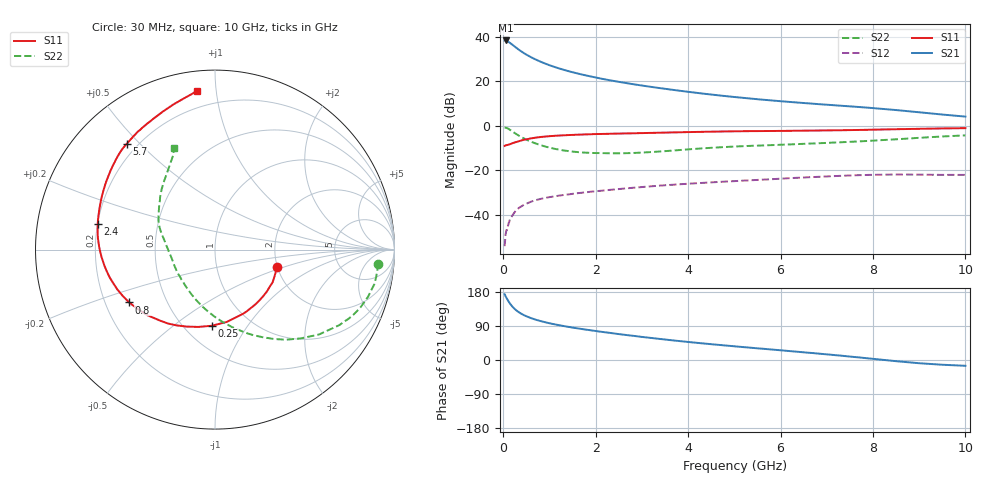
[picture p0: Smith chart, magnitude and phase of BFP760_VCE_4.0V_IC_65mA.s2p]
! Infineon Technologies  Discrete & RF Semiconductors
! BFP760
! VCE =  4.0 V,  IC =  65 mA
! Common Emitter S-Parameters:  Nov 2012
# GHz  S  MA  R  50
!  f  S11  S21  S12  S22
! GHz  MAG  ANG  MAG  ANG  MAG  ANG  MAG  ANG
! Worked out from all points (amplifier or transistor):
!   99 points, 30 MHz to 10 GHz, reference 50 ohm
!   highest |S21| = 38.3 dB at 50 MHz (marker M1)
!   |S21| within 3 dB of that: start of sweep to 265.7 MHz
!   unconditionally stable (mu >= 1): 3.403 GHz to end of sweep
!   at 350 MHz: K = 0.45, MSG = 35.3 dB, |S12| = -36.7 dB
!   at 3.5 GHz: K = 1.01, MAG = 21.1 dB, |S12| = -26.7 dB
!   at 10 GHz: K = 1.03, MAG = 12.0 dB, |S12| = -22.0 dB
!   S11 on the Smith chart (normalised r, x): 30 MHz: 1.98, -0.43; 250 MHz: 0.67, -0.70; 800 MHz: 0.30, -0.26; 2.4 GHz: 0.20, +0.11; 5.7 GHz: 0.16, +0.46; 10 GHz: 0.10, +0.89
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0.03  0.356 -15.4  82.41 173.6  0.002 78.4  0.9088 -4.9
0.04  0.3608 -20.3  82.23 171.5  0.0026 70.1  0.9121 -7.5
0.05  0.3645 -25.2  82.61 168.5  0.0036 63.8  0.9106 -10.0
0.07  0.3687 -34.9  81.45 163.9  0.0046 65.2  0.8982 -14.9
0.1  0.3753 -47.7  78.25 157.6  0.0057 70.0  0.8728 -21.5
0.15  0.3902 -66.2  72.34 148.3  0.0082 65.1  0.8111 -31.2
0.2  0.4084 -80.9  66.01 140.7  0.0098 62.3  0.7481 -39.2
0.25  0.4248 -92.5  60.22 134.5  0.0117 60.8  0.6887 -45.9
0.3  0.4405 -102.1  54.87 129.3  0.0134 58.3  0.639 -51.8
0.35  0.4569 -110.1  50.17 125.1  0.0147 55.8  0.594 -56.9
0.45  0.4877 -122.3  42.78 118.2  0.017 52.6  0.5224 -65.9
0.6  0.5246 -135.8  34.84 110.6  0.0199 49.5  0.4431 -77.4
0.8  0.5618 -148.4  27.78 103.0  0.0229 45.8  0.3725 -90.6
1.1  0.5973 -161.8  21.18 94.4  0.0261 43.4  0.3076 -107.7
1.7  0.6397 -179.0  14.24 81.8  0.0316 41.7  0.2533 -134.2
2.4  0.6691 167.5  10.15 70.0  0.0374 41.4  0.2432 -157.5
3.4  0.7036 152.0  7.019 55.4  0.0458 39.6  0.2671 177.3
5.1  0.758 134.0  4.348 35.1  0.0584 35.2  0.3477 154.6
5.7  0.7672 129.9  3.807 28.8  0.0628 33.6  0.3674 148.9
6.7  0.7858 122.9  3.147 18.3  0.0711 29.6  0.4033 140.1
8.5  0.8421 105.8  2.266 -3.1  0.081 17.6  0.5 122.6
10  0.89 96.5  1.616 -15.3  0.0795 12.0  0.6129 112.0
